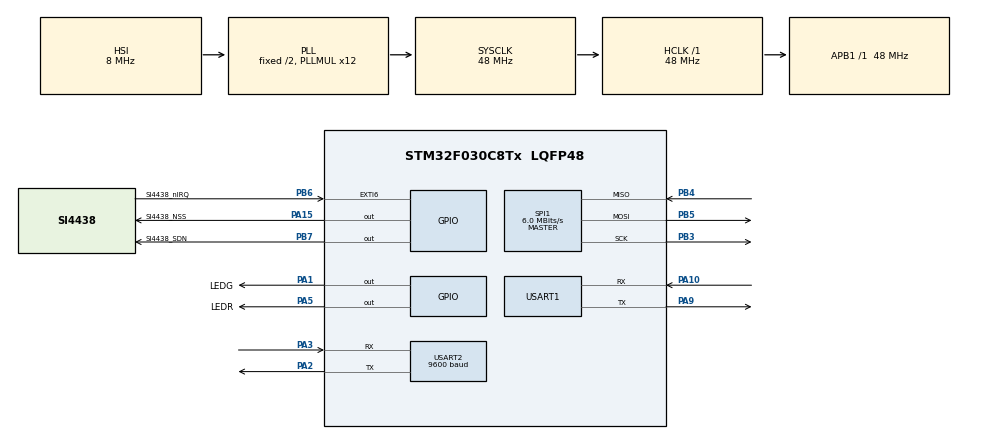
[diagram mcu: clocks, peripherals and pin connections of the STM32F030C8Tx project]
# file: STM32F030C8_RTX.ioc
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Mcu.Family=STM32F0
Mcu.Name=STM32F030C8Tx
Mcu.Package=LQFP48
NVIC.EXTI4_15_IRQn=true\:0\:0\:false\:false\:true\:true
NVIC.TIM1_BRK_UP_TRG_COM_IRQn=true\:0\:0\:false\:false\:true\:true
NVIC.USART1_IRQn=true\:0\:0\:false\:false\:true\:true
NVIC.USART2_IRQn=true\:0\:0\:false\:false\:true\:true
PA1.GPIO_Label=LEDG
PA1.Signal=GPIO_Output
PA10.GPIO_PuPd=GPIO_NOPULL
PA10.Mode=Asynchronous
PA10.Signal=USART1_RX
PA13.Mode=Serial_Wire
PA13.Signal=SYS_SWDIO
PA14.Mode=Serial_Wire
PA14.Signal=SYS_SWCLK
PA15.GPIO_Label=SI4438_NSS
PA15.GPIO_Speed=GPIO_SPEED_FREQ_HIGH
PA15.Signal=GPIO_Output
PA2.Mode=Asynchronous
PA2.Signal=USART2_TX
PA3.Mode=Asynchronous
PA3.Signal=USART2_RX
PA5.GPIO_Label=LEDR
PA5.Signal=GPIO_Output
PA9.GPIO_PuPd=GPIO_NOPULL
PA9.Mode=Asynchronous
PA9.Signal=USART1_TX
PB3.Mode=Full_Duplex_Master
PB3.Signal=SPI1_SCK
PB4.Mode=Full_Duplex_Master
PB4.Signal=SPI1_MISO
PB5.Mode=Full_Duplex_Master
PB5.Signal=SPI1_MOSI
PB6.GPIO_Label=SI4438_nIRQ
PB6.GPIO_ModeDefaultEXTI=GPIO_MODE_IT_FALLING
PB6.Signal=GPXTI6
PB7.GPIO_Label=SI4438_SDN
PB7.GPIO_Speed=GPIO_SPEED_FREQ_HIGH
PB7.Signal=GPIO_Output
ProjectManager.HeapSize=0x200
ProjectManager.StackSize=0x400
ProjectManager.TargetToolchain=MDK-ARM V5
RCC.AHBFreq_Value=48000000
RCC.APB1Freq_Value=48000000
RCC.APB1TimFreq_Value=48000000
RCC.HCLKFreq_Value=48000000
RCC.PLLMUL=RCC_PLL_MUL12
RCC.SYSCLKFreq_VALUE=48000000
RCC.SYSCLKSource=RCC_SYSCLKSOURCE_PLLCLK
SPI1.BaudRatePrescaler=SPI_BAUDRATEPRESCALER_8
SPI1.CalculateBaudRate=6.0 MBits/s
SPI1.DataSize=SPI_DATASIZE_8BIT
SPI1.Direction=SPI_DIRECTION_2LINES
SPI1.Mode=SPI_MODE_MASTER
SPI1.NSSPMode=SPI_NSS_PULSE_ENABLE
SPI1.VirtualType=VM_MASTER
TIM1.Period=1000
TIM1.Prescaler=48-1
USART1.VirtualMode-Asynchronous=VM_ASYNC
USART2.BaudRate=9600
USART2.VirtualMode-Asynchronous=VM_ASYNC
VP_TIM1_VS_ClockSourceINT.Mode=Internal
board=custom

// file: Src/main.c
/**
  ******************************************************************************
  * @file           : main.c
  * @brief          : Main program body
  ******************************************************************************
  ** This notice applies to any and all portions of this file
  * that are not between comment pairs USER CODE BEGIN and
  * USER CODE END. Other portions of this file, whether
  * inserted by the user or by software development tools
  * are owned by their respective copyright owners.
  *
  * COPYRIGHT(c) 2018 STMicroelectronics
  *
  * Redistribution and use in source and binary forms, with or without modification,
  * are permitted provided that the following conditions are met:
  *   1. Redistributions of source code must retain the above copyright notice,
  *      this list of conditions and the following disclaimer.
  *   2. Redistributions in binary form must reproduce the above copyright notice,
  *      this list of conditions and the following disclaimer in the documentation
  *      and/or other materials provided with the distribution.
  *   3. Neither the name of STMicroelectronics nor the names of its contributors
  *      may be used to endorse or promote products derived from this software
  *      without specific prior written permission.
  *
  * THIS SOFTWARE IS PROVIDED BY THE COPYRIGHT HOLDERS AND CONTRIBUTORS "AS IS"
  * AND ANY EXPRESS OR IMPLIED WARRANTIES, INCLUDING, BUT NOT LIMITED TO, THE
  * IMPLIED WARRANTIES OF MERCHANTABILITY AND FITNESS FOR A PARTICULAR PURPOSE ARE
  * DISCLAIMED. IN NO EVENT SHALL THE COPYRIGHT HOLDER OR CONTRIBUTORS BE LIABLE
  * FOR ANY DIRECT, INDIRECT, INCIDENTAL, SPECIAL, EXEMPLARY, OR CONSEQUENTIAL
  * DAMAGES (INCLUDING, BUT NOT LIMITED TO, PROCUREMENT OF SUBSTITUTE GOODS OR
  * SERVICES; LOSS OF USE, DATA, OR PROFITS; OR BUSINESS INTERRUPTION) HOWEVER
  * CAUSED AND ON ANY THEORY OF LIABILITY, WHETHER IN CONTRACT, STRICT LIABILITY,
  * OR TORT (INCLUDING NEGLIGENCE OR OTHERWISE) ARISING IN ANY WAY OUT OF THE USE
  * OF THIS SOFTWARE, EVEN IF ADVISED OF THE POSSIBILITY OF SUCH DAMAGE.
  *
  ******************************************************************************
  */
#include "main.h"
#include "stm32f0xx_hal.h"

/* USER CODE BEGIN Includes */
//#include "taskApp.h"
#include "delay.h"
#include "led.h"
#include "stm32f0_spi.h"
#include "wireless_drv.h"

#include "uart.h"
#include "protocol.h"
#include "device.h"
#include "74.h"
#include "CRC16.h"
#include "encrypt.h"

/* USER CODE END Includes */

SPI_HandleTypeDef hspi1;

TIM_HandleTypeDef htim1;

UART_HandleTypeDef huart1;
UART_HandleTypeDef huart2;

/* USER CODE BEGIN PV */
/* Private variables ---------------------------------------------------------*/

/* USER CODE END PV */

void SystemClock_Config(void);
static void MX_GPIO_Init(void);
static void MX_USART2_UART_Init(void);
static void MX_USART1_UART_Init(void);
static void MX_SPI1_Init(void);
static void MX_TIM1_Init(void);

/* USER CODE BEGIN PFP */
/* Private function prototypes -----------------------------------------------*/

/* USER CODE END PFP */

/* USER CODE BEGIN 0 */

/**
*********************************************************************************************************
*  函 数 名: AppTaskWireless
*  功能说明: 无线接收数据处理
*  形    参: @dat:无线接收的数据 @len:接收数据的长度
*  返 回 值: 无
*********************************************************************************************************
**/
uint8_t  WirelessRxProcess(uint8_t *dat,uint8_t len)
{
	uint16_t index;		//数据标识
	FRAME_CMD_t *frame_cmd =(FRAME_CMD_t*)dat;
	uint16_t crc=0;		//根据接收数据计算出来的CRC16
	uint16_t crc_1=0;	//接收到的CRC16
	uint8_t out_len;		//解密后的长度

    if(frame_cmd->Ctrl.c_AFN == 0)
	{
		DEBUG_Printf("\r\n74Code");
		FrameData_74Convert((FRAME_CMD_t*)dat,len,&out_len,0); //解码
		len = out_len;		//解码后长度
	}

	if((frame_cmd->FSQ.encryptType == 2)||(frame_cmd->FSQ.encryptType == 1))		//是加密的
	{
		DEBUG_Printf("\r\nencryptType");
		Encrypt_Convert((uint8_t*)frame_cmd, len, &out_len, 0);         //解密
	}
	else		//不加密
	{
		DEBUG_Printf("\r\nno encryptType");
	}

	crc = CRC16_2(dat,frame_cmd->DataLen+11-3);		//一帧数据总长度减去2个字节的CRC和一个结束符

	crc_1 = (dat[frame_cmd->DataLen+11-3]<<8)+dat[frame_cmd->DataLen+11-2];

	if(crc != crc_1)		//检验CRC
	{
		DEBUG_Printf("\r\nCRC16_ERROR!!");
		return 0;		//CRC16错误
	}

	index = (uint16_t)(frame_cmd->userData.Index[1]<<8)+frame_cmd->userData.Index[2];
	switch(frame_cmd->userData.Index[0])
	{
		case 0xFF:	//初始化数据标识
			switch(index)
			{
				case 0xFFFF:			//设备入网
					DeviceJoinNet(frame_cmd);

					break;
				case 0xFFFE:
					DEBUG_Printf("\r\n0xFFFE");
					break;
				default:
					break;
			}
			break;
		case 0x00:	//状态量数据标识
			break;
		case 0x01:	//控制量数据标识
			break;
		case 0x02:	//电器功能控制标识
			break;
		case 0x03:	//传感器类数据标识
			switch(index)
			{
				case 0xFFFF:			//读取传感器数据
					//SensorDataReadCmdSend();
					break;
				default:
					break;
			}
			break;
		default:
			break;
	}

	return 1;
}

/*
*********************************************************************************************************
*  函 数 名: AppTaskWireless
*  功能说明: 无线数据处理
*  形    参: 无
*  返 回 值: 无
*********************************************************************************************************
*/
void AppTaskWireless(void)
{
//	FRAME_CMD_t *p;
//	uint8_t out_len;

	if (WIRELESS_STATUS == Wireless_RX_Finish)
	{

		if(Wireless_Buf.Wireless_RxData[0]==0xAC)
        {
			DEBUG_SendBytes(Wireless_Buf.Wireless_RxData,Wireless_Buf.Wireless_PacketLength);
			WirelessRxProcess(Wireless_Buf.Wireless_RxData,Wireless_Buf.Wireless_PacketLength);

		}
		if (WIRELESS_STATUS == Wireless_RX_Finish)
		{
			Si4438_Receive_Start(Wireless_Channel[0]); //开始接收无线数据
		}

	}
	if (WIRELESS_STATUS == Wireless_TX_Finish)
	{
		DEBUG_Printf("Wireless_TX_Finish\r\n");
		Si4438_Receive_Start(Wireless_Channel[0]); //开始接收无线数据
	}
	else if (WIRELESS_STATUS == Wireless_RX_Failure)
	{
		WirelessRx_Timeout_Cnt = 0;
		Si4438_Receive_Start(Wireless_Channel[0]); //开始接收无线数据
	}
}

/*
*********************************************************************************************************
*  函 数 名: AppTaskUartRx
*  功能说明: 串口数据处理
*  形    参: 无
*  返 回 值: 无
*********************************************************************************************************
*/
void AppTaskUartRx(void)
{

	/*
	串口超时接收数据处理
	*/
//		if((uart1RecBuff.timeOut > 20)&&(uart1RecBuff.cnt>0))
//		{
//
//			DEBUG_SendBytes(uart1RecBuff.buff,uart1RecBuff.cnt);
//			Si4438_Transmit_Start(&Wireless_Buf,Wireless_Channel[0],uart1RecBuff.buff,uart1RecBuff.cnt);
//			uart1RecBuff.cnt = 0;
//			uart1RecBuff.timeOut = 0;
//		}

	/*
	串口烧录设备MAC协议数据处理
	*/
	if(MAC_UartRec.state == UartRx_Finished)
	{
		DEBUG_SendBytes(MAC_UartRec.buff,MAC_UartRec.len);
		MAC_UartRec.state = UartRx_FrameHead;
		DeviceMAC_WriteProcess(MAC_UartRec.buff, MAC_UartRec.len);
	}

	/*
	串口接收协议数据
	*/
	if(uart1RecBuff.state == SENSOR_FRAME_FENISH)
	{
		DEBUG_SendBytes(uart1RecBuff.buff,uart1RecBuff.cnt);

		SensorProcess(uart1RecBuff.buff);
		uart1RecBuff.state = SENSOR_FRAME_HEAD;
	}

	//DEBUG_Printf("\r\nAppTaskUartRx");

}

/*
*********************************************************************************************************
*  函 数 名: AppTaskUartRx
*  功能说明: 串口数据处理
*  形    参: 无
*  返 回 值: 无
*********************************************************************************************************
*/
uint32_t SensorDataReadCnt = 0;
extern uint8_t last_PM25_value[3];          //上次PM2_5的值
void AppTaskUartTx(void)
{

	if(SensorDataReadCnt > 10000)		//10秒
	{
		SensorDataReadCnt = 0;
		SensorDataReadCmdSend();
	}
}

/* USER CODE END 0 */

int main(void)
{
  /* USER CODE BEGIN 1 */
 // uint8_t mcuFlagBuf[10];

  /* USER CODE END 1 */

  /* MCU Configuration----------------------------------------------------------*/

  /* Reset of all peripherals, Initializes the Flash interface and the Systick. */
  HAL_Init();

  /* Configure the system clock */
  SystemClock_Config();

  /* USER CODE BEGIN SysInit */
  delay_init(48);
  /* USER CODE END SysInit */

  /* Initialize all configured peripherals */
  MX_GPIO_Init();
  MX_USART2_UART_Init();
  MX_USART1_UART_Init();
  MX_SPI1_Init();
  MX_TIM1_Init();
  /* USER CODE BEGIN 2 */
	HAL_TIM_Base_Start_IT(&htim1);
	HAL_UART_Receive_IT(&huart1, &uart1Rec, 1);
	HAL_UART_Receive_IT(&huart2, &uart2Rec, 1);
//	_74Code_Test();
	Device_MAC_Init();

	Get_WireLessChannel(Wireless_Channel);
	//计算出密文，存放在aes_w，供加解密用
	AES_Init();
	Wireless_Init();
	Si4438_Receive_Start(Wireless_Channel[0]); //开始接收无线数据

	//RTX_OS_Init();
  /* USER CODE END 2 */

  /* Infinite loop */
  /* USER CODE BEGIN WHILE */
  //Test_Write(123,123);
//  STMFLASH_Write(FLASH_USER_START_ADDR,(uint16_t*)"12345678",4);
//  STMFLASH_Read(FLASH_USER_START_ADDR,(uint16_t*)mcuFlagBuf,8);
//  DEBUG_SendBytes(mcuFlagBuf,8);

  while (1)
  {

  /* USER CODE END WHILE */

  /* USER CODE BEGIN 3 */

	  AppTaskWireless();
	 AppTaskUartRx();
	  AppTaskUartTx();
  }
  /* USER CODE END 3 */

}

void SystemClock_Config(void)
{

  RCC_OscInitTypeDef RCC_OscInitStruct;
  RCC_ClkInitTypeDef RCC_ClkInitStruct;
  RCC_PeriphCLKInitTypeDef PeriphClkInit;

    /**Initializes the CPU, AHB and APB busses clocks
    */
  RCC_OscInitStruct.OscillatorType = RCC_OSCILLATORTYPE_HSI;
  RCC_OscInitStruct.HSIState = RCC_HSI_ON;
  RCC_OscInitStruct.HSICalibrationValue = 16;
  RCC_OscInitStruct.PLL.PLLState = RCC_PLL_ON;
  RCC_OscInitStruct.PLL.PLLSource = RCC_PLLSOURCE_HSI;
  RCC_OscInitStruct.PLL.PLLMUL = RCC_PLL_MUL12;
  RCC_OscInitStruct.PLL.PREDIV = RCC_PREDIV_DIV1;
  if (HAL_RCC_OscConfig(&RCC_OscInitStruct) != HAL_OK)
  {
    _Error_Handler(__FILE__, __LINE__);
  }

    /**Initializes the CPU, AHB and APB busses clocks
    */
  RCC_ClkInitStruct.ClockType = RCC_CLOCKTYPE_HCLK|RCC_CLOCKTYPE_SYSCLK
                              |RCC_CLOCKTYPE_PCLK1;
  RCC_ClkInitStruct.SYSCLKSource = RCC_SYSCLKSOURCE_PLLCLK;
  RCC_ClkInitStruct.AHBCLKDivider = RCC_SYSCLK_DIV1;
  RCC_ClkInitStruct.APB1CLKDivider = RCC_HCLK_DIV1;

  if (HAL_RCC_ClockConfig(&RCC_ClkInitStruct, FLASH_LATENCY_1) != HAL_OK)
  {
    _Error_Handler(__FILE__, __LINE__);
  }

  PeriphClkInit.PeriphClockSelection = RCC_PERIPHCLK_USART1;
  PeriphClkInit.Usart1ClockSelection = RCC_USART1CLKSOURCE_PCLK1;
  if (HAL_RCCEx_PeriphCLKConfig(&PeriphClkInit) != HAL_OK)
  {
    _Error_Handler(__FILE__, __LINE__);
  }

    /**Configure the Systick interrupt time
    */
  HAL_SYSTICK_Config(HAL_RCC_GetHCLKFreq()/1000);

    /**Configure the Systick
    */
  HAL_SYSTICK_CLKSourceConfig(SYSTICK_CLKSOURCE_HCLK);

  /* SysTick_IRQn interrupt configuration */
  HAL_NVIC_SetPriority(SysTick_IRQn, 0, 0);
}

/* SPI1 init function */
static void MX_SPI1_Init(void)
{

  /* SPI1 parameter configuration*/
  hspi1.Instance = SPI1;
  hspi1.Init.Mode = SPI_MODE_MASTER;
  hspi1.Init.Direction = SPI_DIRECTION_2LINES;
  hspi1.Init.DataSize = SPI_DATASIZE_8BIT;
  hspi1.Init.CLKPolarity = SPI_POLARITY_LOW;
  hspi1.Init.CLKPhase = SPI_PHASE_1EDGE;
  hspi1.Init.NSS = SPI_NSS_SOFT;
  hspi1.Init.BaudRatePrescaler = SPI_BAUDRATEPRESCALER_8;
  hspi1.Init.FirstBit = SPI_FIRSTBIT_MSB;
  hspi1.Init.TIMode = SPI_TIMODE_DISABLE;
  hspi1.Init.CRCCalculation = SPI_CRCCALCULATION_DISABLE;
  hspi1.Init.CRCPolynomial = 7;
  hspi1.Init.CRCLength = SPI_CRC_LENGTH_DATASIZE;
  hspi1.Init.NSSPMode = SPI_NSS_PULSE_ENABLE;
  if (HAL_SPI_Init(&hspi1) != HAL_OK)
  {
    _Error_Handler(__FILE__, __LINE__);
  }

}

/* TIM1 init function */
static void MX_TIM1_Init(void)
{

  TIM_ClockConfigTypeDef sClockSourceConfig;
  TIM_MasterConfigTypeDef sMasterConfig;

  htim1.Instance = TIM1;
  htim1.Init.Prescaler = 48-1;
  htim1.Init.CounterMode = TIM_COUNTERMODE_UP;
  htim1.Init.Period = 1000;
  htim1.Init.ClockDivision = TIM_CLOCKDIVISION_DIV1;
  htim1.Init.RepetitionCounter = 0;
  htim1.Init.AutoReloadPreload = TIM_AUTORELOAD_PRELOAD_DISABLE;
  if (HAL_TIM_Base_Init(&htim1) != HAL_OK)
  {
    _Error_Handler(__FILE__, __LINE__);
  }

  sClockSourceConfig.ClockSource = TIM_CLOCKSOURCE_INTERNAL;
  if (HAL_TIM_ConfigClockSource(&htim1, &sClockSourceConfig) != HAL_OK)
  {
    _Error_Handler(__FILE__, __LINE__);
  }

  sMasterConfig.MasterOutputTrigger = TIM_TRGO_RESET;
  sMasterConfig.MasterSlaveMode = TIM_MASTERSLAVEMODE_DISABLE;
  if (HAL_TIMEx_MasterConfigSynchronization(&htim1, &sMasterConfig) != HAL_OK)
  {
    _Error_Handler(__FILE__, __LINE__);
  }

}

/* USART1 init function */
static void MX_USART1_UART_Init(void)
{

  huart1.Instance = USART1;
  huart1.Init.BaudRate = 38400;
  huart1.Init.WordLength = UART_WORDLENGTH_8B;
  huart1.Init.StopBits = UART_STOPBITS_1;
  huart1.Init.Parity = UART_PARITY_NONE;
  huart1.Init.Mode = UART_MODE_TX_RX;
  huart1.Init.HwFlowCtl = UART_HWCONTROL_NONE;
  huart1.Init.OverSampling = UART_OVERSAMPLING_16;
  huart1.Init.OneBitSampling = UART_ONE_BIT_SAMPLE_DISABLE;
  huart1.AdvancedInit.AdvFeatureInit = UART_ADVFEATURE_NO_INIT;
  if (HAL_UART_Init(&huart1) != HAL_OK)
  {
    _Error_Handler(__FILE__, __LINE__);
  }

}

/* USART2 init function */
static void MX_USART2_UART_Init(void)
{

  huart2.Instance = USART2;
  huart2.Init.BaudRate = 9600;
  huart2.Init.WordLength = UART_WORDLENGTH_8B;
  huart2.Init.StopBits = UART_STOPBITS_1;
  huart2.Init.Parity = UART_PARITY_NONE;
  huart2.Init.Mode = UART_MODE_TX_RX;
  huart2.Init.HwFlowCtl = UART_HWCONTROL_NONE;
  huart2.Init.OverSampling = UART_OVERSAMPLING_16;
  huart2.Init.OneBitSampling = UART_ONE_BIT_SAMPLE_DISABLE;
  huart2.AdvancedInit.AdvFeatureInit = UART_ADVFEATURE_NO_INIT;
  if (HAL_UART_Init(&huart2) != HAL_OK)
  {
    _Error_Handler(__FILE__, __LINE__);
  }

}

/** Configure pins as
        * Analog
        * Input
        * Output
        * EVENT_OUT
        * EXTI
*/
static void MX_GPIO_Init(void)
{

  GPIO_InitTypeDef GPIO_InitStruct;

  /* GPIO Ports Clock Enable */
  __HAL_RCC_GPIOA_CLK_ENABLE();
  __HAL_RCC_GPIOB_CLK_ENABLE();

  /*Configure GPIO pin Output Level */
  HAL_GPIO_WritePin(GPIOA, LEDG_Pin|LEDR_Pin|SI4438_NSS_Pin, GPIO_PIN_RESET);

  /*Configure GPIO pin Output Level */
  HAL_GPIO_WritePin(SI4438_SDN_GPIO_Port, SI4438_SDN_Pin, GPIO_PIN_RESET);

  /*Configure GPIO pins : LEDG_Pin LEDR_Pin */
  GPIO_InitStruct.Pin = LEDG_Pin|LEDR_Pin;
  GPIO_InitStruct.Mode = GPIO_MODE_OUTPUT_PP;
  GPIO_InitStruct.Pull = GPIO_NOPULL;
  GPIO_InitStruct.Speed = GPIO_SPEED_FREQ_LOW;
  HAL_GPIO_Init(GPIOA, &GPIO_InitStruct);

  /*Configure GPIO pin : SI4438_NSS_Pin */
  GPIO_InitStruct.Pin = SI4438_NSS_Pin;
  GPIO_InitStruct.Mode = GPIO_MODE_OUTPUT_PP;
  GPIO_InitStruct.Pull = GPIO_NOPULL;
  GPIO_InitStruct.Speed = GPIO_SPEED_FREQ_HIGH;
  HAL_GPIO_Init(SI4438_NSS_GPIO_Port, &GPIO_InitStruct);

  /*Configure GPIO pin : SI4438_nIRQ_Pin */
  GPIO_InitStruct.Pin = SI4438_nIRQ_Pin;
  GPIO_InitStruct.Mode = GPIO_MODE_IT_FALLING;
  GPIO_InitStruct.Pull = GPIO_NOPULL;
  HAL_GPIO_Init(SI4438_nIRQ_GPIO_Port, &GPIO_InitStruct);

  /*Configure GPIO pin : SI4438_SDN_Pin */
  GPIO_InitStruct.Pin = SI4438_SDN_Pin;
  GPIO_InitStruct.Mode = GPIO_MODE_OUTPUT_PP;
  GPIO_InitStruct.Pull = GPIO_NOPULL;
  GPIO_InitStruct.Speed = GPIO_SPEED_FREQ_HIGH;
  HAL_GPIO_Init(SI4438_SDN_GPIO_Port, &GPIO_InitStruct);

  /* EXTI interrupt init*/
  HAL_NVIC_SetPriority(EXTI4_15_IRQn, 0, 0);
  HAL_NVIC_EnableIRQ(EXTI4_15_IRQn);

}

void _Error_Handler(char *file, int line)
{
  while(1)
  {
  }
}

/************************ (C) COPYRIGHT STMicroelectronics *****END OF FILE****/
